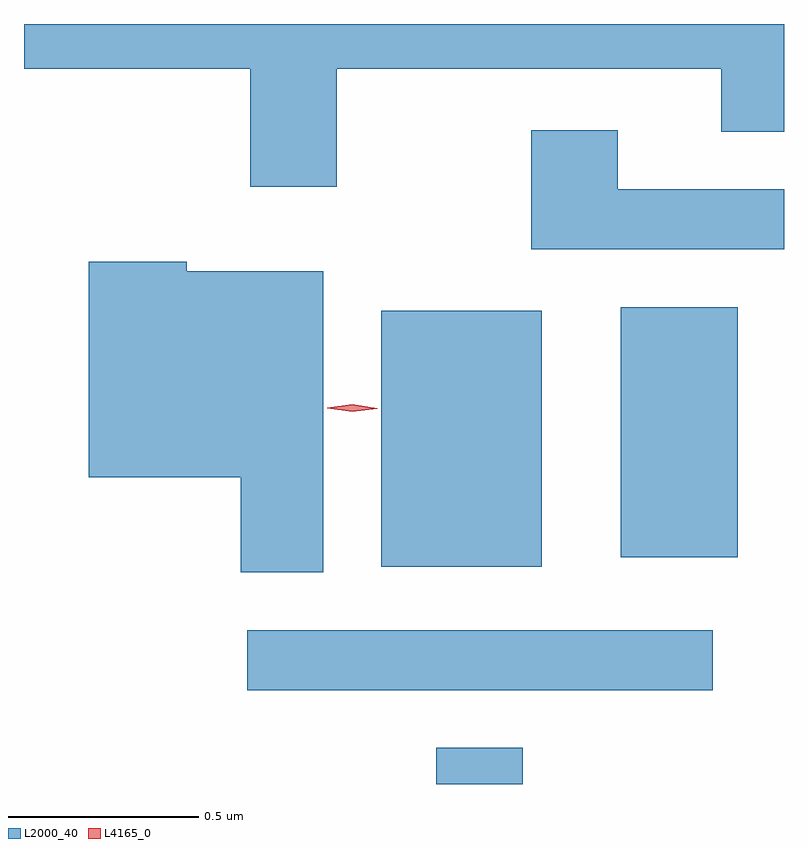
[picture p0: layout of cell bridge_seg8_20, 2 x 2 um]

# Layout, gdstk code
import gdstk
lib = gdstk.Library(unit=1e-6, precision=1e-09)
def R(c, l, rs):  # rectangles x0, y0, x1, y1
    for r in rs: c.add(gdstk.rectangle(r[:2], r[2:], *l))
def P(c, l, *ps):  # polygons
    for p in ps: c.add(gdstk.Polygon(p, *l))
L2000_40 = (2000, 40)
L4165_0 = (4165, 0)

bridge_seg8_20 = lib.new_cell('bridge_seg8_20')
R(bridge_seg8_20, L2000_40, [(1803.851,1876.714,1804.079,1876.809), (1803.353,1876.961,1804.578,1877.119), (1803.706,1877.286,1804.129,1877.959), (1804.336,1877.311,1804.644,1877.969)])
P(bridge_seg8_20, L2000_40, [(1803.589,1878.596),(1804.601,1878.596),(1804.601,1878.431),(1804.766,1878.431),(1804.766,1878.714),(1802.766,1878.714),(1802.766,1878.596),(1803.361,1878.596),(1803.361,1878.286),(1803.589,1878.286)],
  [(1804.766,1878.279),(1804.329,1878.279),(1804.329,1878.434),(1804.101,1878.434),(1804.101,1878.121),(1804.766,1878.121)],
  [(1803.554,1878.064),(1803.194,1878.064),(1803.194,1878.089),(1802.936,1878.089),(1802.936,1877.521),(1803.336,1877.521),(1803.336,1877.271),(1803.554,1877.271)])
P(bridge_seg8_20, L4165_0, [(1803.63,1877.693),(1803.564,1877.703),(1803.564,1877.704),(1803.564,1877.704),(1803.63,1877.713),(1803.696,1877.703),(1803.696,1877.702),(1803.696,1877.702)])

lib.write_gds('bridge_seg8_20.gds')
